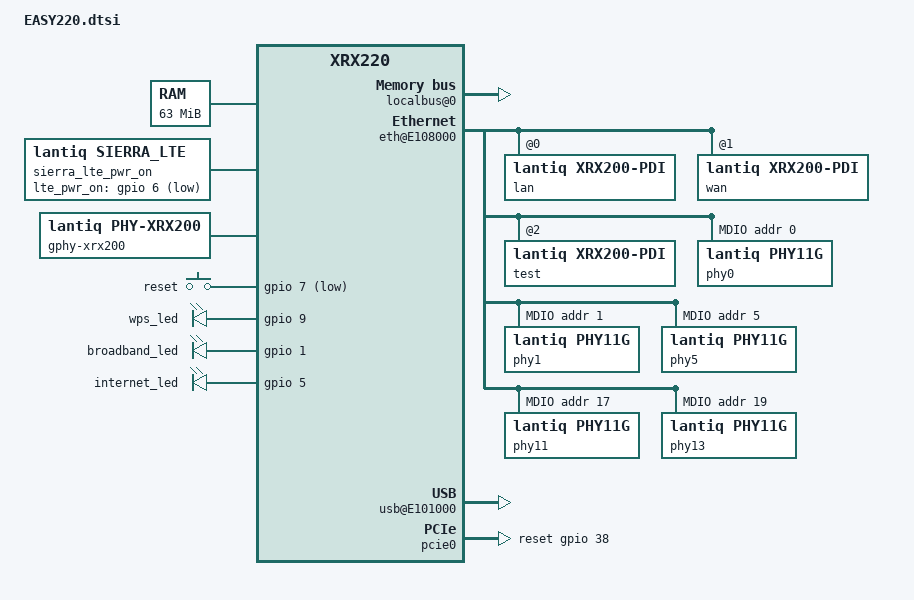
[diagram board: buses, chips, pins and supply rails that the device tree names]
/include/ "xRX200.dtsi"

/ {

  compatible = "lantiq,xway", "lantiq,vr9", "lantiq,xrx220";
	chosen {
		//bootargs = "console=ttyLTQ0,115200 init=/etc/preinit";
	};

	memory@0 {
		reg = <0x0 0x3f00000>;
	};

	fpi@10000000 {
		#address-cells = <1>;
		#size-cells = <1>;
		compatible = "lantiq,fpi", "simple-bus";
		ranges = <0x0 0x10000000 0xFF00000>;
		reg = <0x10000000 0xFF00000>;

		localbus@0 {
			#address-cells = <2>;
			#size-cells = <1>;
			compatible = "lantiq,localbus", "simple-bus";
		};

		gpio: pinmux@E100B10 {
			compatible = "lantiq,pinctrl-xr9";
			pinctrl-names = "default";
			pinctrl-0 = <&state_default>;

			interrupt-parent = <&icu0>;
			interrupts = <166 135 66 40 41 42 38>;

			#gpio-cells = <2>;
			gpio-controller;
			reg = <0xE100B10 0xA0>;

			state_default: pinmux {
				exin {
					lantiq,groups = "exin3";
					lantiq,function = "exin";
				};
				/*stp {
					lantiq,groups = "stp";
					lantiq,function = "stp";
				};*/
				spi {
					lantiq,groups = "spi", "spi_cs4";
					lantiq,function = "spi";
				};
				/*nand {
					lantiq,groups = "nand cle", "nand ale",
							"nand rd", "nand rdy";
					lantiq,function = "ebu";
				};*/
				mdio {
					lantiq,groups = "mdio";
					lantiq,function = "mdio";
				};
				pci {
					lantiq,groups = "gnt1", "req1";
					lantiq,function = "pci";
				};
/*
				led {
					lantiq,groups = "led";
					lantiq,function = "led";
				};
*/
				conf_out {
					lantiq,pins = "io10", "io17", "io18", "io22", /* spi */
							"io21", "io38", /* pcie */
							"io1", "io9", "io5", "io33", "io11", "io12", "io15"; /* led */
					lantiq,open-drain = <0>;
					lantiq,pull = <0>;
					lantiq,output = <1>;
				};
				conf_in {
					lantiq,pins = "io39", /* exin3 */
							"io16"; /* spi in */
					lantiq,pull = <2>;
				};
			};
		};

		eth@E108000 {
			#address-cells = <1>;
			#size-cells = <0>;
			compatible = "lantiq,xrx200-net";
			reg = <	0xE108000 0x3000 /* switch */
				0xE10B100 0x70 /* mdio */
				0xE10B1D8 0x30 /* mii */
				0xE10B308 0x30 /* pmac */
			>;
			interrupt-parent = <&icu0>;
			interrupts = <73 72 95 96>;

			lan: interface@0 {
				compatible = "lantiq,xrx200-pdi";
				#address-cells = <1>;
				#size-cells = <0>;
				reg = <0>;
				mac-address = [ 00 11 22 33 44 55 ];

				ethernet@0 {
					compatible = "lantiq,xrx200-pdi-port";
					reg = <0>;
					phy-mode = "rgmii";
					phy-handle = <&phy0>;
					phy-portid = <4>;
				};
				ethernet@1 {
					compatible = "lantiq,xrx200-pdi-port";
					reg = <1>;
					phy-mode = "rgmii";
					phy-handle = <&phy1>;
					phy-portid = <5>;
				};
				ethernet@2 {
					compatible = "lantiq,xrx200-pdi-port";
					reg = <2>;
					phy-mode = "gmii";
					phy-handle = <&phy11>;
				};
			};

			wan: interface@1 {
				compatible = "lantiq,xrx200-pdi";
				#address-cells = <1>;
				#size-cells = <0>;
				reg = <1>;
				mac-address = [ 00 11 22 33 44 56 ];
				lantiq,wan;
				ethernet@5 {
					compatible = "lantiq,xrx200-pdi-port";
					reg = <5>;
					phy-mode = "rgmii";
					phy-handle = <&phy5>;
					phy-portid = <2>;
				};
			};

			test: interface@2 {
				compatible = "lantiq,xrx200-pdi";
				#address-cells = <1>;
				#size-cells = <0>;
				reg = <2>;
				mac-address = [ 00 11 22 33 44 57 ];
				ethernet@4 {
					compatible = "lantiq,xrx200-pdi-port";
					reg = <4>;
					phynmode0 = "gmii";
					phy-handle = <&phy13>;
				};
			};

			mdio@0 {
				#address-cells = <1>;
				#size-cells = <0>;
				compatible = "lantiq,xrx200-mdio";
				phy0: ethernet-phy@0 {
					reg = <0x0>;
					compatible = "lantiq,phy11g", "ethernet-phy-ieee802.3-c22";
				};
				phy1: ethernet-phy@1 {
					reg = <0x1>;
					compatible = "lantiq,phy11g", "ethernet-phy-ieee802.3-c22";
				};
				phy5: ethernet-phy@5 {
					reg = <0x5>;
					compatible = "lantiq,phy11g", "ethernet-phy-ieee802.3-c22";
				};
				phy11: ethernet-phy@11 {
					reg = <0x11>;
					compatible = "lantiq,phy11g", "ethernet-phy-ieee802.3-c22";
				};
				phy13: ethernet-phy@13 {
					reg = <0x13>;
					compatible = "lantiq,phy11g", "ethernet-phy-ieee802.3-c22";
				};
			};
		};

		eth@E108000 {
			#address-cells = <1>;
			#size-cells = <0>;
			compatible = "lantiq,xway-net";
			reg = < 0xE108000 0x3000 /* switch */
				0xE10B100 0x70 /* mdio */
				0xE10B1D8 0x30 /* mii */
				0xE10B308 0x30 /* pmac */
			>;
		};

		gswitch@E108000 {
			#address-cells = <1>;
			#size-cells = <0>;
			compatible = "lantiq,xway-gsw2x"; /*GSW2X SWAPI */
			reg = <0xE108000 0x3000>;
		};

		stp: stp@E100BB0 {
			compatible = "lantiq,gpio-stp-xway";
			reg = <0xE100BB0 0x40>;
			#gpio-cells = <2>;
			gpio-controller;

			lantiq,shadow = <0xffff>;
			lantiq,groups = <0x7>;
			lantiq,dsl = <0x3>;
			lantiq,phy1 = <0x7>;
			lantiq,phy2 = <0x7>;
			/* lantiq,rising; */
		};

		usb@E101000 {
			status = "okay";
			vbus = <&gpio 33 0> , <&gpio 33 0>;
			/*led  = <&gpio 31 0> , <&gpio 30 0>;*/
			/*as_host    = <1 1>;*/
			/*oc_off     = <1 1>;*/
		};
	};

	sierra_lte_pwr_on {
		compatible = "lantiq,sierra_lte";
		lte_pwr_on = <&gpio 6 1>;
	};

	/* ltq_swreset {
		compatible = "lantiq,ltq_swreset";
		swreset_pin = <&gpio 7 0>;
		swreset_bit = <1>;
		status = "okay";
	};*/

	gphy-xrx200 {
		compatible = "lantiq,phy-xrx200";
		firmware = "lantiq/vr9_phy22f_a2x.bin";
		phys = [ 00 01 ];
	};

	gpio-keys-polled {
		compatible = "gpio-keys-polled";
		#address-cells = <1>;
		#size-cells = <0>;
		poll-interval = <100>;
		
		reset {
			label = "reset";
			gpios = <&gpio 7 1>;
			linux,code = <0x198>;
		};
		/* paging {
			label = "paging";
			gpios = <&gpio 11 1>;
			linux,code = <0x100>;
		}; */
	};

	gpio-leds {
		compatible = "gpio-leds";

		/*power {
			label = "power";
			gpios = <&stp 9 0>;
			default-state = "on";
		};
		warning {
			label = "warning";
			gpios = <&stp 22 0>;
		};
		fxs1 {
			label = "fxs1";
			gpios = <&stp 21 0>;
		};
		fxs2 {
			label = "fxs2";
			gpios = <&stp 20 0>;
		};
		fxo {
			label = "fxo";
			gpios = <&stp 19 0>;
		};
		usb1 {
			label = "usb1";
			gpios = <&stp 18 0>;
		};
		usb2 {
			label = "usb2";
			gpios = <&stp 15 0>;
		};
		sd {
			label = "sd";
			gpios = <&stp 14 0>;
		};*/
		wps_led {
			label = "wps_led";
			gpios = <&gpio 9 0>;
		};

		broadband_led {
			label = "broadband_led";
			gpios = <&gpio 1 0>;
		};

		internet_led {
			label = "internet_led";
			gpios = <&gpio 5 0>;
		};
	};
};

&pcie0 {
    status = "ok";
	lantiq,rst-high-active = <0>; /* 0 - low activ, 1 -- high active */
	lantiq,rst-interval = <200>; /* in mili-seconds, up to 500 ms*/
	lantiq,inbound-swap = <1>; /* 0 -- no swap, 1 -- swap */
	lantiq,outbound-swap = <1>; /* 0 -- no swap, 1 -- swap */
	lantiq,phy-mode = <0>; /* 0 -36Mhz, 1 - 36MHzSSC, 2 - 25Mhz, 3 - 25MHzSSC, 4 - 100MHz, 5 - 100MHz SSC */
	reset-gpio = <&gpio 38 0>; // default value , it can be updated on board.
};
